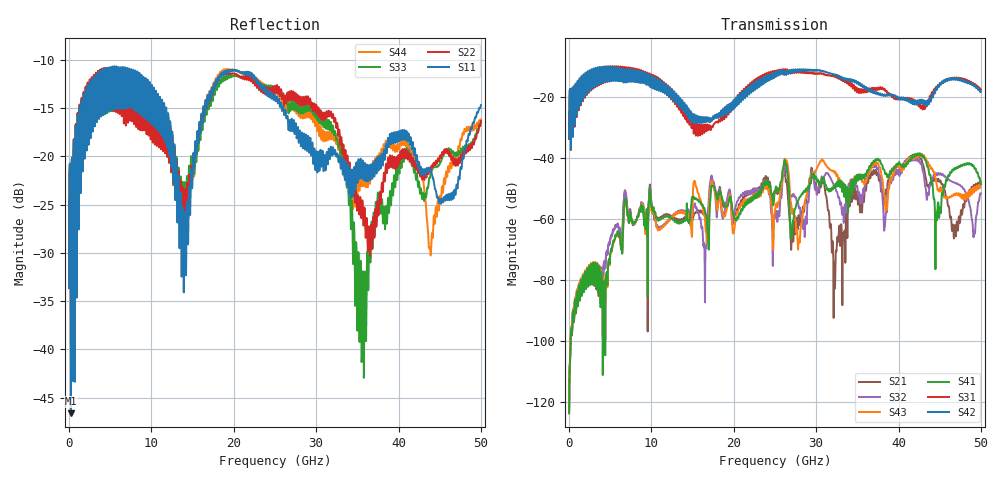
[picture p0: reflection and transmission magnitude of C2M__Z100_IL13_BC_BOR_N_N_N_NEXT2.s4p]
# GHz S MA R 50
! S-Parameters data
! Freq  magS11  angS11  magS12  angS12  magS13  angS13  magS14  angS14
!  magS21  angS21  magS22  angS22  magS23  angS23  magS24  angS24
!  magS31  angS31  magS32  angS32  magS33  angS33  magS34  angS34
!  magS41  angS41  magS42  angS42  magS43  angS43  magS44  angS44
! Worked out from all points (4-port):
!   5000 points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, 10 MHz to 50 GHz, reference 50 ohm
!   strongest paths, dB at 10 MHz, 12.51 GHz, 25.01 GHz, 37.51 GHz, 50 GHz:
!     S42: -33.8, -17.6, -12.1, -18.8, -18.2
!     S31: -33.8, -17.5, -11.5, -17.1, -17.6
!     S41: -123.2, -59.9, -51.5, -40.3, -48.6
!     S43: -122.5, -59.2, -57.5, -41.7, -48.5
!     S32: -123.1, -59.0, -59.6, -43.3, -51.7
!     S21: -123.8, -59.2, -51.0, -44.9, -48.2
!   lowest |S11| = -46.6 dB at 240 MHz (marker M1), VSWR 1.01, Z = 50.1 + j0.453 ohm
!   |S11| at or under -10 dB: start of sweep to end of sweep
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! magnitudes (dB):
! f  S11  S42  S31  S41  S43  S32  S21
! 10 MHz  -33.7  -33.8  -33.8  -123.2  -122.5  -123.1  -123.8
! 240 MHz  -46.6  -30.3  -30.6  -96.4  -95.7  -96.2  -96.9
! 17.33 GHz  -12.9  -27.6  -29.6  -49.0  -47.7  -46.0  -47.3
! 29.52 GHz  -18.6  -11.2  -12.1  -45.3  -45.6  -45.0  -44.2
! 32.27 GHz  -19.4  -12.9  -13.4  -49.6  -44.8  -49.6  -81.0
! 36.91 GHz  -20.8  -18.7  -17.8  -41.4  -42.3  -42.7  -44.6
! 50 GHz  -14.7  -18.2  -17.6  -48.6  -48.5  -51.7  -48.2
